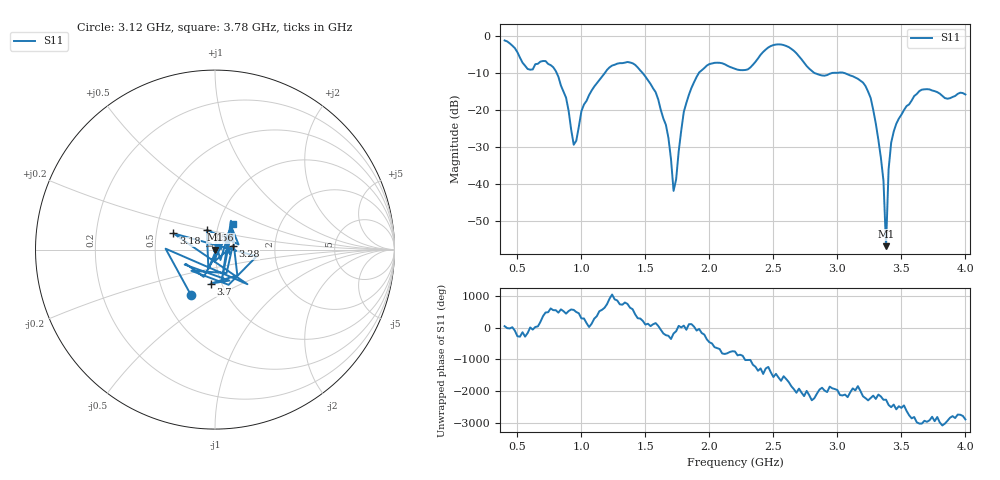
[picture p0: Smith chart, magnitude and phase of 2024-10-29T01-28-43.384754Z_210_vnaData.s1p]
!Created with skrf (http://scikit-rf.org).
# Hz S RI R 50.0
!freq ReS11 ImS11
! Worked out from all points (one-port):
!   181 points, 400 MHz to 4 GHz, reference 50 ohm
!   lowest |S11| = -56.8 dB at 3.38 GHz (marker M1), VSWR 1.00, Z = 49.9 - j0.129 ohm
!   |S11| at or under -10 dB: 807 MHz to 1.183 GHz (375.9 MHz wide, 37.8 % of centre); 1.478 GHz to 1.918 GHz (439.2 MHz wide, 25.9 % of centre); 3.054 GHz to end of sweep (the widest 3 of 4)
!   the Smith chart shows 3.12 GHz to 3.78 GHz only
!   S11 on the Smith chart (normalised r, x): 3.12 GHz: 0.68, -0.37; 3.18 GHz: 0.61, +0.12; 3.28 GHz: 1.22, +0.05; 3.56 GHz: 0.89, +0.20; 3.7 GHz: 0.89, -0.35; 3.78 GHz: 1.17, +0.34
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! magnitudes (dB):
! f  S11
! 400 MHz  -1.2
! 580 MHz  -8.9
! 780 MHz  -8.4
! 860 MHz  -15.0
! 940 MHz  -29.4
! 1.08 GHz  -14.7
! 1.3 GHz  -7.3
! 1.58 GHz  -15.2
! 1.68 GHz  -27.5
! 1.72 GHz  -41.8
! 1.76 GHz  -31.2
! 1.8 GHz  -20.5
! 1.92 GHz  -9.8
! 2.2 GHz  -8.9
! 2.66 GHz  -4.0
! 2.82 GHz  -10.0
! 3.1 GHz  -10.7
! 3.12 GHz  -10.9
! 3.18 GHz  -12.1
! 3.28 GHz  -20.0
! 3.36 GHz  -39.1
! 3.38 GHz  -56.8
! 3.4 GHz  -36.0
! 3.42 GHz  -28.9
! 3.56 GHz  -18.5
! 3.7 GHz  -14.4
! 3.78 GHz  -15.2
! 4 GHz  -15.8
